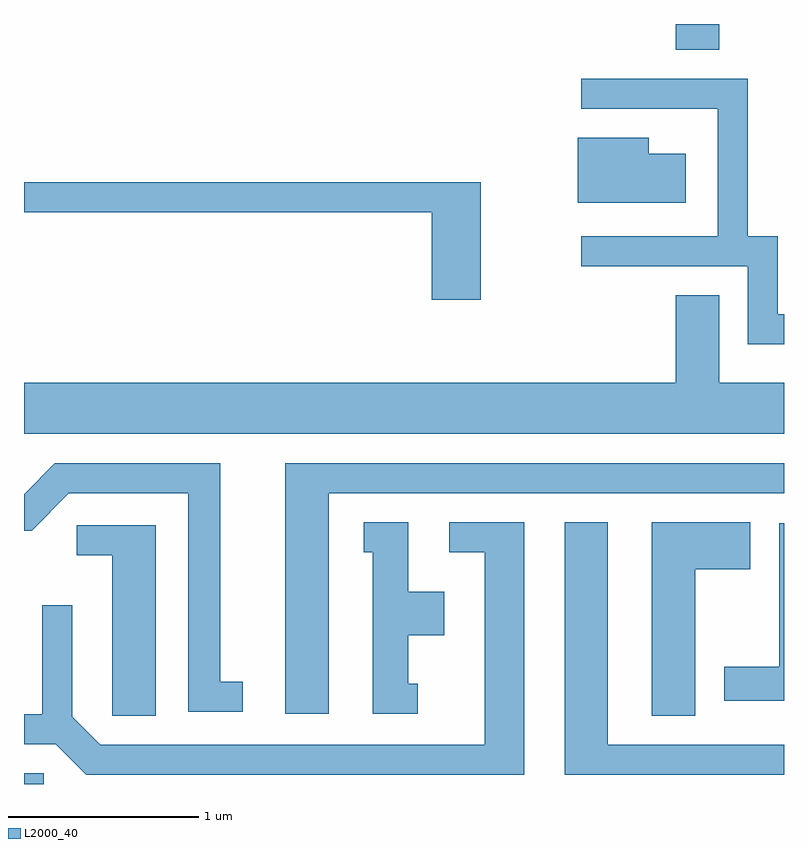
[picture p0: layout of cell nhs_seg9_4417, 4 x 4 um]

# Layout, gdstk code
import gdstk
lib = gdstk.Library(unit=1e-6, precision=1e-09)
def R(c, l, rs):  # rectangles x0, y0, x1, y1
    for r in rs: c.add(gdstk.rectangle(r[:2], r[2:], *l))
def P(c, l, *ps):  # polygons
    for p in ps: c.add(gdstk.Polygon(p, *l))
L2000_40 = (2000, 40)

nhs_seg9_4417 = lib.new_cell('nhs_seg9_4417')
R(nhs_seg9_4417, L2000_40, [(315.611,1974.432,315.714,1974.489), (319.041,1978.296,319.269,1978.432)])
P(nhs_seg9_4417, L2000_40, [(319.611,1976.904),(319.579,1976.904),(319.579,1977.314),(319.419,1977.314),(319.419,1978.144),(318.543,1978.144),(318.543,1977.986),(319.261,1977.986),(319.261,1977.314),(318.543,1977.314),(318.543,1977.156),(319.421,1977.156),(319.421,1976.746),(319.611,1976.746)],
  [(319.094,1977.749),(318.899,1977.749),(318.899,1977.834),(318.526,1977.834),(318.526,1977.491),(319.094,1977.491)],
  [(318.014,1977.599),(315.611,1977.599),(315.611,1977.441),(317.756,1977.441),(317.756,1976.981),(318.014,1976.981)],
  [(319.611,1976.544),(319.269,1976.544),(319.269,1977.004),(319.041,1977.004),(319.041,1976.544),(315.611,1976.544),(315.611,1976.276),(319.611,1976.276)],
  [(317.214,1975.961),(319.611,1975.961),(319.611,1976.119),(316.986,1976.119),(316.986,1974.801),(317.214,1974.801)],
  [(316.763,1974.969),(316.644,1974.969),(316.644,1976.119),(315.774,1976.119),(315.611,1975.956),(315.611,1975.766),(315.652,1975.766),(315.847,1975.961),(316.476,1975.961),(316.476,1974.811),(316.763,1974.811)],
  [(319.144,1975.561),(319.434,1975.561),(319.434,1975.809),(318.916,1975.809),(318.916,1974.791),(319.144,1974.791)],
  [(317.683,1974.959),(317.634,1974.959),(317.634,1975.216),(317.824,1975.216),(317.824,1975.444),(317.634,1975.444),(317.634,1975.809),(317.398,1975.809),(317.398,1975.651),(317.446,1975.651),(317.446,1974.801),(317.683,1974.801)],
  [(319.611,1974.639),(318.684,1974.639),(318.684,1975.809),(318.456,1975.809),(318.456,1974.481),(319.611,1974.481)],
  [(318.244,1975.809),(317.848,1975.809),(317.848,1975.651),(318.036,1975.651),(318.036,1974.639),(316.012,1974.639),(315.864,1974.787),(315.864,1975.373),(315.706,1975.373),(315.706,1974.799),(315.611,1974.799),(315.611,1974.641),(315.779,1974.641),(315.939,1974.481),(318.244,1974.481)],
  [(319.611,1975.804),(319.586,1975.804),(319.586,1975.049),(319.296,1975.049),(319.296,1974.871),(319.611,1974.871)],
  [(316.304,1975.794),(315.888,1975.794),(315.888,1975.636),(316.076,1975.636),(316.076,1974.791),(316.304,1974.791)])

lib.write_gds('nhs_seg9_4417.gds')
